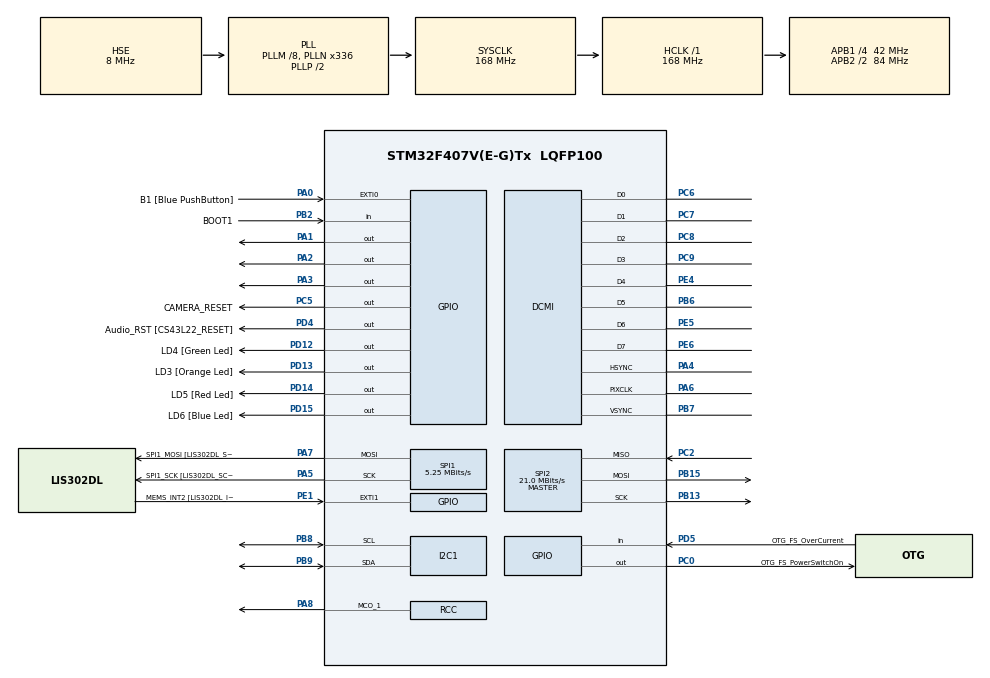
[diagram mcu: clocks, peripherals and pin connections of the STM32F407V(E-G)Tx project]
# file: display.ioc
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DCMI.JPEGMode=DCMI_JPEG_DISABLE
DCMI.PCKPolarity=DCMI_PCKPOLARITY_RISING
DCMI.VSPolarity=DCMI_VSPOLARITY_HIGH
Dma.DCMI.0.Direction=DMA_PERIPH_TO_MEMORY
Dma.DCMI.0.FIFOMode=DMA_FIFOMODE_DISABLE
Dma.DCMI.0.Instance=DMA2_Stream1
Dma.DCMI.0.MemDataAlignment=DMA_MDATAALIGN_WORD
Dma.DCMI.0.MemInc=DMA_MINC_ENABLE
Dma.DCMI.0.Mode=DMA_NORMAL
Dma.DCMI.0.PeriphDataAlignment=DMA_PDATAALIGN_WORD
Dma.DCMI.0.PeriphInc=DMA_PINC_DISABLE
Dma.DCMI.0.Priority=DMA_PRIORITY_LOW
Dma.Request0=DCMI
Mcu.Family=STM32F4
Mcu.Name=STM32F407V(E-G)Tx
Mcu.Package=LQFP100
NVIC.DCMI_IRQn=true\:0\:0\:false\:false\:true\:true\:true
NVIC.DMA2_Stream1_IRQn=true\:0\:0\:false\:false\:true\:false\:true
NVIC.PriorityGroup=NVIC_PRIORITYGROUP_0
PA0-WKUP.GPIO_Label=B1 [Blue PushButton]
PA0-WKUP.GPIO_ModeDefaultEXTI=GPIO_MODE_EVT_RISING
PA0-WKUP.GPIO_PuPd=GPIO_NOPULL
PA0-WKUP.Signal=GPXTI0
PA1.Signal=GPIO_Output
PA10.GPIO_Label=OTG_FS_ID
PA10.GPIO_Mode=GPIO_MODE_AF_PP
PA10.GPIO_PuPd=GPIO_NOPULL
PA10.GPIO_Speed=GPIO_SPEED_FREQ_LOW
PA10.Signal=USB_OTG_FS_ID
PA11.GPIO_Label=OTG_FS_DM
PA11.GPIO_Mode=GPIO_MODE_AF_PP
PA11.GPIO_PuPd=GPIO_NOPULL
PA11.GPIO_Speed=GPIO_SPEED_FREQ_LOW
PA11.Signal=USB_OTG_FS_DM
PA12.GPIO_Label=OTG_FS_DP
PA12.GPIO_Mode=GPIO_MODE_AF_PP
PA12.GPIO_PuPd=GPIO_NOPULL
PA12.GPIO_Speed=GPIO_SPEED_FREQ_LOW
PA12.Signal=USB_OTG_FS_DP
PA13.GPIO_Label=SWDIO
PA13.Mode=Serial_Wire
PA13.Signal=SYS_JTMS-SWDIO
PA14.GPIO_Label=SWCLK
PA14.Mode=Serial_Wire
PA14.Signal=SYS_JTCK-SWCLK
PA2.GPIO_Speed=GPIO_SPEED_FREQ_HIGH
PA2.Signal=GPIO_Output
PA3.GPIO_Speed=GPIO_SPEED_FREQ_HIGH
PA3.Signal=GPIO_Output
PA4.GPIO_PuPd=GPIO_PULLDOWN
PA4.GPIO_Speed=GPIO_SPEED_FREQ_VERY_HIGH
PA4.Mode=Slave_8_bits_External_Synchro
PA4.Signal=DCMI_HSYNC
PA5.GPIO_Label=SPI1_SCK [LIS302DL_SCL/SPC]
PA5.GPIO_Mode=GPIO_MODE_AF_PP
PA5.GPIO_PuPd=GPIO_NOPULL
PA5.GPIO_Speed=GPIO_SPEED_FREQ_LOW
PA5.Mode=TX_Only_Simplex_Unidirect_Master
PA5.Signal=SPI1_SCK
PA6.GPIO_PuPd=GPIO_PULLDOWN
PA6.GPIO_Speed=GPIO_SPEED_FREQ_VERY_HIGH
PA6.Mode=Slave_8_bits_External_Synchro
PA6.Signal=DCMI_PIXCLK
PA7.GPIO_Label=SPI1_MOSI [LIS302DL_SDA/SDI/SDO]
PA7.GPIO_Mode=GPIO_MODE_AF_PP
PA7.GPIO_PuPd=GPIO_NOPULL
PA7.GPIO_Speed=GPIO_SPEED_FREQ_LOW
PA7.Mode=TX_Only_Simplex_Unidirect_Master
PA7.Signal=SPI1_MOSI
PA8.GPIO_Speed=GPIO_SPEED_FREQ_VERY_HIGH
PA8.Mode=Clock-out-1
PA8.Signal=RCC_MCO_1
PA9.GPIO_Label=VBUS_FS
PA9.GPIO_Mode=GPIO_MODE_INPUT
PA9.GPIO_PuPd=GPIO_NOPULL
PA9.Signal=USB_OTG_FS_VBUS
PB10.GPIO_Label=CLK_IN [MP45DT02_CLK]
PB10.GPIO_Mode=GPIO_MODE_AF_PP
PB10.GPIO_PuPd=GPIO_NOPULL
PB10.GPIO_Speed=GPIO_SPEED_FREQ_LOW
PB10.Signal=I2S2_CK
PB13.Mode=Full_Duplex_Master
PB13.Signal=SPI2_SCK
PB15.Mode=Full_Duplex_Master
PB15.Signal=SPI2_MOSI
PB2.GPIO_Label=BOOT1
PB2.GPIO_Mode=GPIO_MODE_INPUT
PB2.GPIO_PuPd=GPIO_NOPULL
PB2.Signal=GPIO_Input
PB3.GPIO_Label=SWO
PB3.Signal=SYS_JTDO-SWO
PB6.GPIO_PuPd=GPIO_PULLDOWN
PB6.GPIO_Speed=GPIO_SPEED_FREQ_VERY_HIGH
PB6.Mode=Slave_8_bits_External_Synchro
PB6.Signal=DCMI_D5
PB7.GPIO_PuPd=GPIO_PULLDOWN
PB7.GPIO_Speed=GPIO_SPEED_FREQ_VERY_HIGH
PB7.Mode=Slave_8_bits_External_Synchro
PB7.Signal=DCMI_VSYNC
PB8.GPIO_Pu=GPIO_PULLUP
PB8.Mode=I2C
PB8.Signal=I2C1_SCL
PB9.GPIO_Pu=GPIO_PULLUP
PB9.Mode=I2C
PB9.Signal=I2C1_SDA
PC0.GPIO_Label=OTG_FS_PowerSwitchOn
PC0.GPIO_PuPd=GPIO_NOPULL
PC0.GPIO_Speed=GPIO_SPEED_FREQ_LOW
PC0.PinState=GPIO_PIN_SET
PC0.Signal=GPIO_Output
PC14-OSC32_IN.GPIO_Label=PC14-OSC32_IN
PC14-OSC32_IN.Signal=RCC_OSC32_IN
PC15-OSC32_OUT.GPIO_Label=PC15-OSC32_OUT
PC15-OSC32_OUT.Signal=RCC_OSC32_OUT
PC2.Mode=Full_Duplex_Master
PC2.Signal=SPI2_MISO
PC3.GPIO_Label=PDM_OUT [MP45DT02_DOUT]
PC3.GPIO_Mode=GPIO_MODE_AF_PP
PC3.GPIO_PuPd=GPIO_NOPULL
PC3.GPIO_Speed=GPIO_SPEED_FREQ_LOW
PC3.Signal=I2S2_SD
PC5.GPIO_Label=CAMERA_RESET
PC5.GPIO_PuPd=GPIO_PULLUP
PC5.Signal=GPIO_Output
PC6.GPIO_PuPd=GPIO_PULLDOWN
PC6.GPIO_Speed=GPIO_SPEED_FREQ_VERY_HIGH
PC6.Mode=Slave_8_bits_External_Synchro
PC6.Signal=DCMI_D0
PC7.GPIO_PuPd=GPIO_PULLDOWN
PC7.GPIO_Speed=GPIO_SPEED_FREQ_VERY_HIGH
PC7.Mode=Slave_8_bits_External_Synchro
PC7.Signal=DCMI_D1
PC8.GPIO_PuPd=GPIO_PULLDOWN
PC8.GPIO_Speed=GPIO_SPEED_FREQ_VERY_HIGH
PC8.Mode=Slave_8_bits_External_Synchro
PC8.Signal=DCMI_D2
PC9.GPIO_PuPd=GPIO_PULLDOWN
PC9.GPIO_Speed=GPIO_SPEED_FREQ_VERY_HIGH
PC9.Mode=Slave_8_bits_External_Synchro
PC9.Signal=DCMI_D3
PD12.GPIO_Label=LD4 [Green Led]
PD12.GPIO_PuPd=GPIO_NOPULL
PD12.GPIO_Speed=GPIO_SPEED_FREQ_LOW
PD12.Signal=GPIO_Output
PD13.GPIO_Label=LD3 [Orange Led]
PD13.GPIO_PuPd=GPIO_NOPULL
PD13.GPIO_Speed=GPIO_SPEED_FREQ_LOW
PD13.Signal=GPIO_Output
PD14.GPIO_Label=LD5 [Red Led]
PD14.GPIO_PuPd=GPIO_NOPULL
PD14.GPIO_Speed=GPIO_SPEED_FREQ_LOW
PD14.Signal=GPIO_Output
PD15.GPIO_Label=LD6 [Blue Led]
PD15.GPIO_PuPd=GPIO_NOPULL
PD15.GPIO_Speed=GPIO_SPEED_FREQ_LOW
PD15.Signal=GPIO_Output
PD4.GPIO_Label=Audio_RST [CS43L22_RESET]
PD4.GPIO_PuPd=GPIO_NOPULL
PD4.GPIO_Speed=GPIO_SPEED_FREQ_LOW
PD4.Signal=GPIO_Output
PD5.GPIO_Label=OTG_FS_OverCurrent
PD5.GPIO_Mode=GPIO_MODE_INPUT
PD5.GPIO_PuPd=GPIO_NOPULL
PD5.Signal=GPIO_Input
PE1.GPIO_Label=MEMS_INT2 [LIS302DL_INT2]
PE1.GPIO_ModeDefaultEXTI=GPIO_MODE_EVT_RISING
PE1.GPIO_PuPd=GPIO_NOPULL
PE1.Signal=GPXTI1
PE4.GPIO_PuPd=GPIO_PULLDOWN
PE4.GPIO_Speed=GPIO_SPEED_FREQ_VERY_HIGH
PE4.Mode=Slave_8_bits_External_Synchro
PE4.Signal=DCMI_D4
PE5.GPIO_PuPd=GPIO_PULLDOWN
PE5.GPIO_Speed=GPIO_SPEED_FREQ_VERY_HIGH
PE5.Mode=Slave_8_bits_External_Synchro
PE5.Signal=DCMI_D6
PE6.GPIO_PuPd=GPIO_PULLDOWN
PE6.GPIO_Speed=GPIO_SPEED_FREQ_VERY_HIGH
PE6.Mode=Slave_8_bits_External_Synchro
PE6.Signal=DCMI_D7
PH0-OSC_IN.GPIO_Label=PH0-OSC_IN
PH0-OSC_IN.Mode=HSE-External-Oscillator
PH0-OSC_IN.Signal=RCC_OSC_IN
PH1-OSC_OUT.GPIO_Label=PH1-OSC_OUT
PH1-OSC_OUT.Mode=HSE-External-Oscillator
PH1-OSC_OUT.Signal=RCC_OSC_OUT
ProjectManager.HeapSize=0x400
ProjectManager.StackSize=0x800
ProjectManager.TargetToolchain=STM32CubeIDE
RCC.48MHZClocksFreq_Value=48000000
RCC.AHBFreq_Value=168000000
RCC.APB1CLKDivider=RCC_HCLK_DIV4
RCC.APB1Freq_Value=42000000
RCC.APB1TimFreq_Value=84000000
RCC.APB2CLKDivider=RCC_HCLK_DIV2
RCC.APB2Freq_Value=84000000
RCC.APB2TimFreq_Value=168000000
RCC.CortexFreq_Value=168000000
RCC.HCLKFreq_Value=168000000
RCC.HSE_VALUE=8000000
RCC.HSI_VALUE=16000000
RCC.LSE_VALUE=32768
RCC.PLLM=8
RCC.PLLN=336
RCC.PLLQ=7
RCC.PLLSourceVirtual=RCC_PLLSOURCE_HSE
RCC.RCC_MCO1Source=RCC_MCO1SOURCE_PLLCLK
RCC.RCC_MCODiv1=RCC_MCODIV_4
RCC.SYSCLKFreq_VALUE=168000000
RCC.SYSCLKSource=RCC_SYSCLKSOURCE_PLLCLK
RCC.VCOOutputFreq_Value=336000000
SPI1.BaudRatePrescaler=SPI_BAUDRATEPRESCALER_16
SPI1.CalculateBaudRate=5.25 MBits/s
SPI1.Direction=SPI_DIRECTION_2LINES
SPI1.Mode=SPI_MODE_MASTER
SPI1.VirtualType=VM_MASTER
SPI2.CalculateBaudRate=21.0 MBits/s
SPI2.Direction=SPI_DIRECTION_2LINES
SPI2.Mode=SPI_MODE_MASTER
SPI2.VirtualType=VM_MASTER
VP_RNG_VS_RNG.Mode=RNG_Activate
board=STM32F407G-DISC1

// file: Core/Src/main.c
/* USER CODE BEGIN Header */
/**
  ******************************************************************************
  * @file           : main.c
  * @brief          : Main program body
  ******************************************************************************
  * @attention
  *
  * <h2><center>&copy; Copyright (c) 2023 STMicroelectronics.
  * All rights reserved.</center></h2>
  *
  * This software component is licensed by ST under Ultimate Liberty license
  * SLA0044, the "License"; You may not use this file except in compliance with
  * the License. You may obtain a copy of the License at:
  *                             www.st.com/SLA0044
  *
  ******************************************************************************
  */
/* USER CODE END Header */
#include "main.h"

/* USER CODE BEGIN Includes */
#include "spi_ili9341.h"
#include "image.h"
#include "common.h"
#include "ov7670.h"

/* USER CODE END Includes */

DCMI_HandleTypeDef hdcmi;
DMA_HandleTypeDef hdma_dcmi;

I2C_HandleTypeDef hi2c1;

RNG_HandleTypeDef hrng;

SPI_HandleTypeDef hspi1;
SPI_HandleTypeDef hspi2;

/* USER CODE BEGIN PV */
extern uint16_t TFT9341_WIDTH;
extern uint16_t TFT9341_HEIGHT;
/* USER CODE END PV */

void SystemClock_Config(void);
static void MX_GPIO_Init(void);
static void MX_SPI1_Init(void);
static void MX_RNG_Init(void);
static void MX_SPI2_Init(void);
static void MX_DCMI_Init(void);
static void MX_DMA_Init(void);
static void MX_I2C1_Init(void);

/* USER CODE BEGIN 0 */
__STATIC_INLINE void DelayMicro(uint32_t __IO micros)
{
  micros *=(SystemCoreClock/1000000)/5;
  while(micros--);
}
/* USER CODE END 0 */

int main(void)
{
  /* USER CODE BEGIN 1 */
	uint16_t i,j;
  /* USER CODE END 1 */

  /* MCU Configuration--------------------------------------------------------*/

  /* Reset of all peripherals, Initializes the Flash interface and the Systick. */
  HAL_Init();

  /* Configure the system clock */
  SystemClock_Config();

  /* Initialize all configured peripherals */
  MX_GPIO_Init();
  MX_SPI1_Init();
  MX_RNG_Init();
  MX_SPI2_Init();
  MX_DCMI_Init();
  MX_DMA_Init();
  MX_I2C1_Init();
  /* USER CODE BEGIN 2 */
  TFT9341_ini(320, 240);
  HAL_Delay(500);
  TFT9341_FillScreen(TFT9341_RED);
  HAL_Delay(2000);
//  uint16_t* p_lcdData;
//	p_lcdData = image_data_320x240x16;
//	ov7670_init(&hdcmi, &hdcmi, &hi2c1);
//	ov7670_config(OV7670_MODE_QVGA_RGB565);
//
//	HAL_Delay(2000);
//	ov7670_startCap(1, p_lcdData);

  /* USER CODE END 2 */

  /* Infinite loop */
  while (1)
  {

    /* USER CODE BEGIN 3 */

//	  for(j=0;j<20;j++)
//	      {
//	        for(i=0;i<TFT9341_WIDTH;i++)
//	        {
//	          TFT9341_DrawLine(TFT9341_RandColor(),i,0,i,TFT9341_HEIGHT-1);
//	        }
//	      }
//	      HAL_Delay(500);
//	      TFT9341_FillScreen(TFT9341_BLACK);
	  HAL_Delay(1000);
	  TFT9341_FillScreen(TFT9341_RED);
	  HAL_Delay(1000);
	  //TFT9341_FillScreen(TFT9341_GREEN);
	  TFT9341_DrawArray(image_data_320x240x16, 320, 120);

  }
  /* USER CODE END 3 */
}

void SystemClock_Config(void)
{
  RCC_OscInitTypeDef RCC_OscInitStruct = {0};
  RCC_ClkInitTypeDef RCC_ClkInitStruct = {0};

  /** Configure the main internal regulator output voltage
  */
  __HAL_RCC_PWR_CLK_ENABLE();
  __HAL_PWR_VOLTAGESCALING_CONFIG(PWR_REGULATOR_VOLTAGE_SCALE1);
  /** Initializes the RCC Oscillators according to the specified parameters
  * in the RCC_OscInitTypeDef structure.
  */
  RCC_OscInitStruct.OscillatorType = RCC_OSCILLATORTYPE_HSE;
  RCC_OscInitStruct.HSEState = RCC_HSE_ON;
  RCC_OscInitStruct.PLL.PLLState = RCC_PLL_ON;
  RCC_OscInitStruct.PLL.PLLSource = RCC_PLLSOURCE_HSE;
  RCC_OscInitStruct.PLL.PLLM = 8;
  RCC_OscInitStruct.PLL.PLLN = 336;
  RCC_OscInitStruct.PLL.PLLP = RCC_PLLP_DIV2;
  RCC_OscInitStruct.PLL.PLLQ = 7;
  if (HAL_RCC_OscConfig(&RCC_OscInitStruct) != HAL_OK)
  {
    Error_Handler();
  }
  /** Initializes the CPU, AHB and APB buses clocks
  */
  RCC_ClkInitStruct.ClockType = RCC_CLOCKTYPE_HCLK|RCC_CLOCKTYPE_SYSCLK
                              |RCC_CLOCKTYPE_PCLK1|RCC_CLOCKTYPE_PCLK2;
  RCC_ClkInitStruct.SYSCLKSource = RCC_SYSCLKSOURCE_PLLCLK;
  RCC_ClkInitStruct.AHBCLKDivider = RCC_SYSCLK_DIV1;
  RCC_ClkInitStruct.APB1CLKDivider = RCC_HCLK_DIV4;
  RCC_ClkInitStruct.APB2CLKDivider = RCC_HCLK_DIV2;

  if (HAL_RCC_ClockConfig(&RCC_ClkInitStruct, FLASH_LATENCY_5) != HAL_OK)
  {
    Error_Handler();
  }
  HAL_RCC_MCOConfig(RCC_MCO1, RCC_MCO1SOURCE_PLLCLK, RCC_MCODIV_4);
}

static void MX_DCMI_Init(void)
{

  hdcmi.Instance = DCMI;
  hdcmi.Init.SynchroMode = DCMI_SYNCHRO_HARDWARE;
  hdcmi.Init.PCKPolarity = DCMI_PCKPOLARITY_RISING;
  hdcmi.Init.VSPolarity = DCMI_VSPOLARITY_HIGH;
  hdcmi.Init.HSPolarity = DCMI_HSPOLARITY_LOW;
  hdcmi.Init.CaptureRate = DCMI_CR_ALL_FRAME;
  hdcmi.Init.ExtendedDataMode = DCMI_EXTEND_DATA_8B;
  hdcmi.Init.JPEGMode = DCMI_JPEG_DISABLE;
  if (HAL_DCMI_Init(&hdcmi) != HAL_OK)
  {
    Error_Handler();
  }

}

static void MX_I2C1_Init(void)
{

  hi2c1.Instance = I2C1;
  hi2c1.Init.ClockSpeed = 100000;
  hi2c1.Init.DutyCycle = I2C_DUTYCYCLE_2;
  hi2c1.Init.OwnAddress1 = 0;
  hi2c1.Init.AddressingMode = I2C_ADDRESSINGMODE_7BIT;
  hi2c1.Init.DualAddressMode = I2C_DUALADDRESS_DISABLE;
  hi2c1.Init.OwnAddress2 = 0;
  hi2c1.Init.GeneralCallMode = I2C_GENERALCALL_DISABLE;
  hi2c1.Init.NoStretchMode = I2C_NOSTRETCH_DISABLE;
  if (HAL_I2C_Init(&hi2c1) != HAL_OK)
  {
    Error_Handler();
  }

}

static void MX_RNG_Init(void)
{

  hrng.Instance = RNG;
  if (HAL_RNG_Init(&hrng) != HAL_OK)
  {
    Error_Handler();
  }

}

static void MX_SPI1_Init(void)
{

  /* SPI1 parameter configuration*/
  hspi1.Instance = SPI1;
  hspi1.Init.Mode = SPI_MODE_MASTER;
  hspi1.Init.Direction = SPI_DIRECTION_2LINES;
  hspi1.Init.DataSize = SPI_DATASIZE_8BIT;
  hspi1.Init.CLKPolarity = SPI_POLARITY_LOW;
  hspi1.Init.CLKPhase = SPI_PHASE_1EDGE;
  hspi1.Init.NSS = SPI_NSS_SOFT;
  hspi1.Init.BaudRatePrescaler = SPI_BAUDRATEPRESCALER_16;
  hspi1.Init.FirstBit = SPI_FIRSTBIT_MSB;
  hspi1.Init.TIMode = SPI_TIMODE_DISABLE;
  hspi1.Init.CRCCalculation = SPI_CRCCALCULATION_DISABLE;
  hspi1.Init.CRCPolynomial = 10;
  if (HAL_SPI_Init(&hspi1) != HAL_OK)
  {
    Error_Handler();
  }

}

static void MX_SPI2_Init(void)
{

  /* SPI2 parameter configuration*/
  hspi2.Instance = SPI2;
  hspi2.Init.Mode = SPI_MODE_MASTER;
  hspi2.Init.Direction = SPI_DIRECTION_2LINES;
  hspi2.Init.DataSize = SPI_DATASIZE_8BIT;
  hspi2.Init.CLKPolarity = SPI_POLARITY_LOW;
  hspi2.Init.CLKPhase = SPI_PHASE_1EDGE;
  hspi2.Init.NSS = SPI_NSS_SOFT;
  hspi2.Init.BaudRatePrescaler = SPI_BAUDRATEPRESCALER_2;
  hspi2.Init.FirstBit = SPI_FIRSTBIT_MSB;
  hspi2.Init.TIMode = SPI_TIMODE_DISABLE;
  hspi2.Init.CRCCalculation = SPI_CRCCALCULATION_DISABLE;
  hspi2.Init.CRCPolynomial = 10;
  if (HAL_SPI_Init(&hspi2) != HAL_OK)
  {
    Error_Handler();
  }

}

static void MX_DMA_Init(void)
{

  /* DMA controller clock enable */
  __HAL_RCC_DMA2_CLK_ENABLE();

  /* DMA interrupt init */
  /* DMA2_Stream1_IRQn interrupt configuration */
  HAL_NVIC_SetPriority(DMA2_Stream1_IRQn, 0, 0);
  HAL_NVIC_EnableIRQ(DMA2_Stream1_IRQn);

}

static void MX_GPIO_Init(void)
{
  GPIO_InitTypeDef GPIO_InitStruct = {0};

  /* GPIO Ports Clock Enable */
  __HAL_RCC_GPIOE_CLK_ENABLE();
  __HAL_RCC_GPIOC_CLK_ENABLE();
  __HAL_RCC_GPIOH_CLK_ENABLE();
  __HAL_RCC_GPIOA_CLK_ENABLE();
  __HAL_RCC_GPIOB_CLK_ENABLE();
  __HAL_RCC_GPIOD_CLK_ENABLE();

  /*Configure GPIO pin Output Level */
  HAL_GPIO_WritePin(OTG_FS_PowerSwitchOn_GPIO_Port, OTG_FS_PowerSwitchOn_Pin, GPIO_PIN_SET);

  /*Configure GPIO pin Output Level */
  HAL_GPIO_WritePin(GPIOA, GPIO_PIN_1|GPIO_PIN_2|GPIO_PIN_3, GPIO_PIN_RESET);

  /*Configure GPIO pin Output Level */
  HAL_GPIO_WritePin(CAMERA_RESET_GPIO_Port, CAMERA_RESET_Pin, GPIO_PIN_RESET);

  /*Configure GPIO pin Output Level */
  HAL_GPIO_WritePin(GPIOD, LD4_Pin|LD3_Pin|LD5_Pin|LD6_Pin
                          |Audio_RST_Pin, GPIO_PIN_RESET);

  /*Configure GPIO pin : OTG_FS_PowerSwitchOn_Pin */
  GPIO_InitStruct.Pin = OTG_FS_PowerSwitchOn_Pin;
  GPIO_InitStruct.Mode = GPIO_MODE_OUTPUT_PP;
  GPIO_InitStruct.Pull = GPIO_NOPULL;
  GPIO_InitStruct.Speed = GPIO_SPEED_FREQ_LOW;
  HAL_GPIO_Init(OTG_FS_PowerSwitchOn_GPIO_Port, &GPIO_InitStruct);

  /*Configure GPIO pin : PDM_OUT_Pin */
  GPIO_InitStruct.Pin = PDM_OUT_Pin;
  GPIO_InitStruct.Mode = GPIO_MODE_AF_PP;
  GPIO_InitStruct.Pull = GPIO_NOPULL;
  GPIO_InitStruct.Speed = GPIO_SPEED_FREQ_LOW;
  GPIO_InitStruct.Alternate = GPIO_AF5_SPI2;
  HAL_GPIO_Init(PDM_OUT_GPIO_Port, &GPIO_InitStruct);

  /*Configure GPIO pin : B1_Pin */
  GPIO_InitStruct.Pin = B1_Pin;
  GPIO_InitStruct.Mode = GPIO_MODE_EVT_RISING;
  GPIO_InitStruct.Pull = GPIO_NOPULL;
  HAL_GPIO_Init(B1_GPIO_Port, &GPIO_InitStruct);

  /*Configure GPIO pin : PA1 */
  GPIO_InitStruct.Pin = GPIO_PIN_1;
  GPIO_InitStruct.Mode = GPIO_MODE_OUTPUT_PP;
  GPIO_InitStruct.Pull = GPIO_NOPULL;
  GPIO_InitStruct.Speed = GPIO_SPEED_FREQ_LOW;
  HAL_GPIO_Init(GPIOA, &GPIO_InitStruct);

  /*Configure GPIO pins : PA2 PA3 */
  GPIO_InitStruct.Pin = GPIO_PIN_2|GPIO_PIN_3;
  GPIO_InitStruct.Mode = GPIO_MODE_OUTPUT_PP;
  GPIO_InitStruct.Pull = GPIO_NOPULL;
  GPIO_InitStruct.Speed = GPIO_SPEED_FREQ_HIGH;
  HAL_GPIO_Init(GPIOA, &GPIO_InitStruct);

  /*Configure GPIO pin : CAMERA_RESET_Pin */
  GPIO_InitStruct.Pin = CAMERA_RESET_Pin;
  GPIO_InitStruct.Mode = GPIO_MODE_OUTPUT_PP;
  GPIO_InitStruct.Pull = GPIO_PULLUP;
  GPIO_InitStruct.Speed = GPIO_SPEED_FREQ_LOW;
  HAL_GPIO_Init(CAMERA_RESET_GPIO_Port, &GPIO_InitStruct);

  /*Configure GPIO pin : BOOT1_Pin */
  GPIO_InitStruct.Pin = BOOT1_Pin;
  GPIO_InitStruct.Mode = GPIO_MODE_INPUT;
  GPIO_InitStruct.Pull = GPIO_NOPULL;
  HAL_GPIO_Init(BOOT1_GPIO_Port, &GPIO_InitStruct);

  /*Configure GPIO pin : CLK_IN_Pin */
  GPIO_InitStruct.Pin = CLK_IN_Pin;
  GPIO_InitStruct.Mode = GPIO_MODE_AF_PP;
  GPIO_InitStruct.Pull = GPIO_NOPULL;
  GPIO_InitStruct.Speed = GPIO_SPEED_FREQ_LOW;
  GPIO_InitStruct.Alternate = GPIO_AF5_SPI2;
  HAL_GPIO_Init(CLK_IN_GPIO_Port, &GPIO_InitStruct);

  /*Configure GPIO pins : LD4_Pin LD3_Pin LD5_Pin LD6_Pin
                           Audio_RST_Pin */
  GPIO_InitStruct.Pin = LD4_Pin|LD3_Pin|LD5_Pin|LD6_Pin
                          |Audio_RST_Pin;
  GPIO_InitStruct.Mode = GPIO_MODE_OUTPUT_PP;
  GPIO_InitStruct.Pull = GPIO_NOPULL;
  GPIO_InitStruct.Speed = GPIO_SPEED_FREQ_LOW;
  HAL_GPIO_Init(GPIOD, &GPIO_InitStruct);

  /*Configure GPIO pin : PA8 */
  GPIO_InitStruct.Pin = GPIO_PIN_8;
  GPIO_InitStruct.Mode = GPIO_MODE_AF_PP;
  GPIO_InitStruct.Pull = GPIO_NOPULL;
  GPIO_InitStruct.Speed = GPIO_SPEED_FREQ_VERY_HIGH;
  GPIO_InitStruct.Alternate = GPIO_AF0_MCO;
  HAL_GPIO_Init(GPIOA, &GPIO_InitStruct);

  /*Configure GPIO pin : VBUS_FS_Pin */
  GPIO_InitStruct.Pin = VBUS_FS_Pin;
  GPIO_InitStruct.Mode = GPIO_MODE_INPUT;
  GPIO_InitStruct.Pull = GPIO_NOPULL;
  HAL_GPIO_Init(VBUS_FS_GPIO_Port, &GPIO_InitStruct);

  /*Configure GPIO pins : OTG_FS_ID_Pin OTG_FS_DM_Pin OTG_FS_DP_Pin */
  GPIO_InitStruct.Pin = OTG_FS_ID_Pin|OTG_FS_DM_Pin|OTG_FS_DP_Pin;
  GPIO_InitStruct.Mode = GPIO_MODE_AF_PP;
  GPIO_InitStruct.Pull = GPIO_NOPULL;
  GPIO_InitStruct.Speed = GPIO_SPEED_FREQ_LOW;
  GPIO_InitStruct.Alternate = GPIO_AF10_OTG_FS;
  HAL_GPIO_Init(GPIOA, &GPIO_InitStruct);

  /*Configure GPIO pin : OTG_FS_OverCurrent_Pin */
  GPIO_InitStruct.Pin = OTG_FS_OverCurrent_Pin;
  GPIO_InitStruct.Mode = GPIO_MODE_INPUT;
  GPIO_InitStruct.Pull = GPIO_NOPULL;
  HAL_GPIO_Init(OTG_FS_OverCurrent_GPIO_Port, &GPIO_InitStruct);

  /*Configure GPIO pin : MEMS_INT2_Pin */
  GPIO_InitStruct.Pin = MEMS_INT2_Pin;
  GPIO_InitStruct.Mode = GPIO_MODE_EVT_RISING;
  GPIO_InitStruct.Pull = GPIO_NOPULL;
  HAL_GPIO_Init(MEMS_INT2_GPIO_Port, &GPIO_InitStruct);

}

void Error_Handler(void)
{
  __disable_irq();
  while (1)
  {
  }
}

/************************ (C) COPYRIGHT STMicroelectronics *****END OF FILE****/
